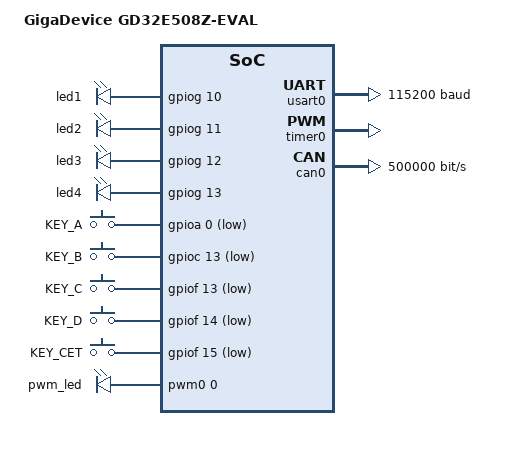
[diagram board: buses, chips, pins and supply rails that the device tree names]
/*
 * Copyright (c) 2026 GigaDevice Semiconductor Inc.
 * SPDX-License-Identifier: Apache-2.0
 */

/dts-v1/;

#include <arm/gd/gd32e50x/gd32e508xe.dtsi>
#include "gd32e508z_eval-pinctrl.dtsi"
#include <zephyr/dt-bindings/input/input-event-codes.h>

/ {
	model = "GigaDevice GD32E508Z-EVAL";
	compatible = "gd,gd32e508z-eval";

	chosen {
		zephyr,sram = &sram0;
		zephyr,flash = &flash0;
		zephyr,console = &usart0;
		zephyr,shell-uart = &usart0;
		zephyr,canbus = &can0;
	};

	leds {
		compatible = "gpio-leds";

		led1: led1 {
			gpios = <&gpiog 10 GPIO_ACTIVE_HIGH>;
		};

		led2: led2 {
			gpios = <&gpiog 11 GPIO_ACTIVE_HIGH>;
		};

		led3: led3 {
			gpios = <&gpiog 12 GPIO_ACTIVE_HIGH>;
		};

		led4: led4 {
			gpios = <&gpiog 13 GPIO_ACTIVE_HIGH>;
		};
	};

	gpio_keys {
		compatible = "gpio-keys";

		key_a: key_a {
			label = "KEY_A";
			gpios = <&gpioa 0 GPIO_ACTIVE_LOW>;
			zephyr,code = <INPUT_KEY_A>;
		};

		key_b: key_b {
			label = "KEY_B";
			gpios = <&gpioc 13 GPIO_ACTIVE_LOW>;
			zephyr,code = <INPUT_KEY_B>;
		};

		key_c: key_c {
			label = "KEY_C";
			gpios = <&gpiof 13 GPIO_ACTIVE_LOW>;
			zephyr,code = <INPUT_KEY_C>;
		};

		key_d: key_d {
			label = "KEY_D";
			gpios = <&gpiof 14 GPIO_ACTIVE_LOW>;
			zephyr,code = <INPUT_KEY_D>;
		};

		key_cet: key_cet {
			label = "KEY_CET";
			gpios = <&gpiof 15 GPIO_ACTIVE_LOW>;
			zephyr,code = <INPUT_KEY_0>;
		};
	};

	pwmleds {
		compatible = "pwm-leds";

		/* NOTE: bridge TIMER0_CH0 (PA8) and LED1 (PG10)*/
		pwm_led: pwm_led {
			pwms = <&pwm0 0 PWM_MSEC(20) PWM_POLARITY_NORMAL>;
		};
	};

	aliases {
		led0 = &led1;
		sw0 = &key_a;
		pwm-led0 = &pwm_led;
	};
};

&gpioa {
	status = "okay";
};

&gpioc {
	status = "okay";
};

&gpiod {
	status = "okay";
};

&gpioe {
	status = "okay";
};

&gpiof {
	status = "okay";
};

&gpiog {
	status = "okay";
};

&usart0 {
	status = "okay";
	current-speed = <115200>;
	pinctrl-0 = <&usart0_default>;
	pinctrl-names = "default";
};

&timer0 {
	status = "okay";
	prescaler = <256>;

	pwm0: pwm {
		status = "okay";
		pinctrl-0 = <&pwm0_default>;
		pinctrl-names = "default";
	};
};

&can0 {
	status = "okay";
	pinctrl-0 = <&can0_default>;
	pinctrl-names = "default";
	bitrate = <500000>;
	bitrate-data = <1000000>;
	sample-point = <800>;
	sample-point-data = <800>;
};
